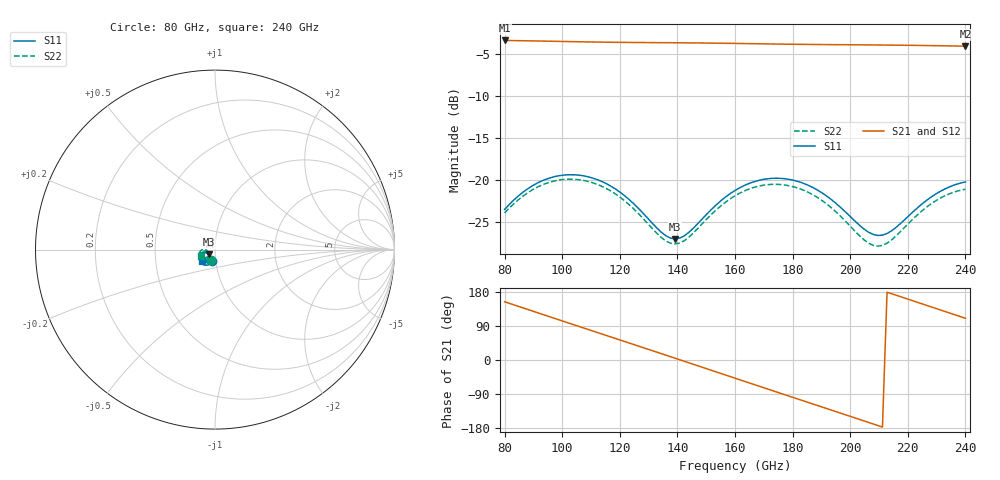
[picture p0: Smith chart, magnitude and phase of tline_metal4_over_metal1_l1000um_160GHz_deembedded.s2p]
! Created with skrf 2.0.1 (http://scikit-rf.org).
# GHz S DB R 50.0
!freq dBS11 angS11 dBS21 angS21 dBS12 angS12 dBS22 angS22
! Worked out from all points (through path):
!   101 points, 80 GHz to 240 GHz, reference 50 ohm
!   highest |S21| = -3.38 dB at 80 GHz (marker M1); lowest = -4.1 dB at 240 GHz (marker M2)
!   group delay of S21, straight-line fit = 7 ps
!   lowest |S11| = -27.0 dB at 139.2 GHz (marker M3), VSWR 1.09, Z = 46.5 - j2.54 ohm
!   |S11| at or under -10 dB: start of sweep to end of sweep
!   |S22| runs from -27.9 to -19.9 dB; largest |S21 - S12| = 7.3e-14
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80  -23.50 -105.2  -3.38 153.6  -3.38 153.6  -23.92 -109.6
88  -21.04 -111.3  -3.42 133.4  -3.42 133.4  -21.52 -116.0
94.4  -19.90 -120.7  -3.46 117.3  -3.46 117.3  -20.40 -125.8
100.8  -19.40 -131.4  -3.50 101.2  -3.50 101.2  -19.92 -136.9
107.2  -19.49 -142.4  -3.54 85.1  -3.54 85.1  -20.03 -148.2
120  -21.43 -160.6  -3.60 53.0  -3.60 53.0  -22.02 -167.3
128  -23.92 -164.4  -3.63 32.9  -3.63 32.9  -24.55 -171.5
134.4  -26.21 -156.5  -3.64 16.8  -3.64 16.8  -26.84 -163.8
139.2  -27.01 -142.4  -3.65 4.7  -3.65 4.7  -27.61 -149.9
148.8  -24.56 -121.2  -3.68 -19.6  -3.68 -19.6  -25.14 -129.9
160  -21.24 -125.3  -3.73 -48.0  -3.73 -48.0  -21.88 -135.2
168  -20.06 -135.5  -3.77 -68.2  -3.77 -68.2  -20.74 -146.1
174.4  -19.78 -144.8  -3.80 -84.3  -3.80 -84.3  -20.51 -156.0
180.8  -20.07 -153.9  -3.83 -100.4  -3.83 -100.4  -20.85 -165.7
187.2  -20.92 -161.9  -3.86 -116.5  -3.86 -116.5  -21.78 -174.3
196.8  -23.30 -168.0  -3.88 -140.6  -3.88 -140.6  -24.36 178.9
206.4  -26.22 -156.6  -3.91 -164.9  -3.91 -164.9  -27.52 -168.7
209.6  -26.60 -147.8  -3.92 -173.0  -3.92 -173.0  -27.87 -158.9
214.4  -26.04 -134.7  -3.93 174.9  -3.93 174.9  -27.12 -145.3
225.6  -22.67 -125.8  -3.98 146.5  -3.98 146.5  -23.48 -138.2
233.6  -20.94 -131.8  -4.02 126.3  -4.02 126.3  -21.76 -145.7
240  -20.23 -139.2  -4.05 110.2  -4.05 110.2  -21.10 -154.3
